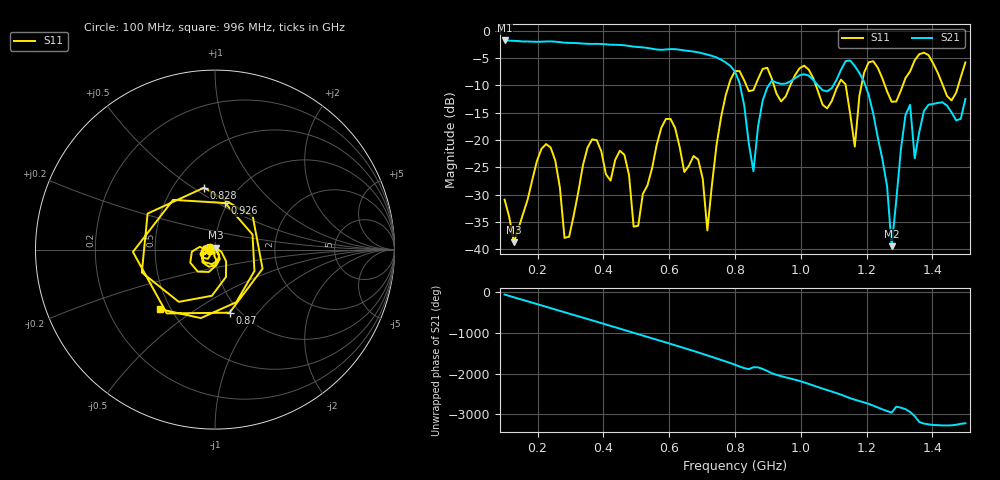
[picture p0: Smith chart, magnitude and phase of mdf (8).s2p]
! NanoVNA-App
! Date: 2025-09-25 15:38:29
! Start: 100MHz Stop: 1,5GHz Points: 101
! S-Parameter data: F S11 S21 S12 S22
# Hz S RI R 50
!  Frequency  S11_Real  S11_Imag  S21_Real  S21_Imag  S12_Real  S12_Imag  S22_Real  S22_Imag
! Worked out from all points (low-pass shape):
!   101 points, 100 MHz to 1.5 GHz, reference 50 ohm
!   highest |S21| = -1.81 dB at 100 MHz (marker M1); lowest = -39.4 dB at 1.276 GHz (marker M2)
!   |S21| within 3 dB of the highest: start of sweep to 738.9 MHz
!   lowest |S11| = -38.7 dB at 128 MHz (marker M3), VSWR 1.02, Z = 50.4 + j1.1 ohm
!   |S11| at or under -10 dB: start of sweep to 781 MHz; 918.1 MHz to 968 MHz (49.88 MHz wide, 5.29 % of centre); 1.046 GHz to 1.113 GHz (67.78 MHz wide, 6.28 % of centre) (the widest 3 of 7)
!   S12 and S22 are empty: the file has one direction only
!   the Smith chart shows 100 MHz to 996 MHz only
!   S11 on the Smith chart (normalised r, x): 100 MHz: 0.95, -0.01; 828 MHz: 0.70, +0.55; 870 MHz: 0.90, -0.73; 926 MHz: 0.97, +0.54; 996 MHz: 0.44, -0.36
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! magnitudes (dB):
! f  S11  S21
! 100 MHz  -30.9  -1.8
! 128 MHz  -38.7  -1.9
! 212 MHz  -21.6  -2.0
! 282 MHz  -37.9  -2.2
! 338 MHz  -24.6  -2.4
! 464 MHz  -22.7  -2.7
! 506 MHz  -35.7  -3.0
! 576 MHz  -17.8  -3.5
! 716 MHz  -36.5  -4.4
! 800 MHz  -7.4  -7.5
! 828 MHz  -9.1  -13.7
! 856 MHz  -10.9  -25.7
! 870 MHz  -8.9  -17.6
! 926 MHz  -11.5  -9.5
! 996 MHz  -6.9  -8.2
! 1.038 GHz  -8.7  -9.0
! 1.164 GHz  -21.2  -6.5
! 1.192 GHz  -7.7  -9.3
! 1.276 GHz  -13.0  -39.4
! 1.332 GHz  -7.5  -13.6
! 1.346 GHz  -5.4  -23.3
! 1.5 GHz  -5.8  -12.5
